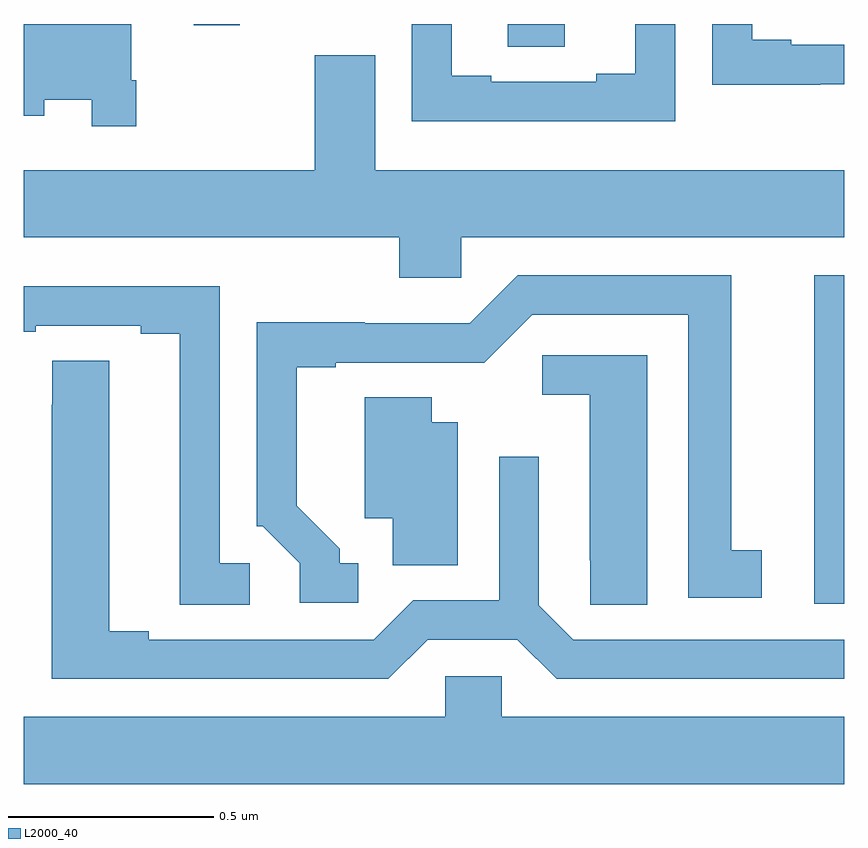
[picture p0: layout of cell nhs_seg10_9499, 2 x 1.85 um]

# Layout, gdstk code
import gdstk
lib = gdstk.Library(unit=1e-6, precision=1e-09)
def R(c, l, rs):  # rectangles x0, y0, x1, y1
    for r in rs: c.add(gdstk.rectangle(r[:2], r[2:], *l))
def P(c, l, *ps):  # polygons
    for p in ps: c.add(gdstk.Polygon(p, *l))
L2000_40 = (2000, 40)

nhs_seg10_9499 = lib.new_cell('nhs_seg10_9499')
R(nhs_seg10_9499, L2000_40, [(231.926,1302.087,232,1302.888), (231.18,1303.444,231.319,1303.5), (230.415,1303.497,230.527,1303.5)])
P(nhs_seg10_9499, L2000_40, [(231.941,1303.353),(232,1303.353),(232,1303.449),(231.871,1303.449),(231.871,1303.462),(231.775,1303.462),(231.775,1303.5),(231.678,1303.5),(231.678,1303.352),(231.941,1303.352)],
  [(231.588,1303.5),(231.491,1303.5),(231.491,1303.379),(231.395,1303.379),(231.395,1303.359),(231.139,1303.359),(231.139,1303.374),(231.043,1303.374),(231.043,1303.5),(230.946,1303.5),(230.946,1303.263),(231.588,1303.263)],
  [(230.275,1303.363),(230.262,1303.363),(230.262,1303.5),(230,1303.5),(230,1303.277),(230.05,1303.277),(230.05,1303.316),(230.166,1303.316),(230.166,1303.251),(230.275,1303.251)],
  [(231.066,1302.98),(232,1302.98),(232,1303.144),(230.857,1303.144),(230.857,1303.424),(230.71,1303.424),(230.71,1303.144),(230,1303.144),(230,1302.98),(230.915,1302.98),(230.915,1302.882),(231.066,1302.882)],
  [(230.815,1302.186),(230.77,1302.186),(230.77,1302.221),(230.665,1302.326),(230.665,1302.663),(230.761,1302.663),(230.761,1302.675),(231.026,1302.675),(231.026,1302.674),(231.122,1302.674),(231.24,1302.792),(231.62,1302.792),(231.62,1302.102),(231.799,1302.102),(231.799,1302.218),(231.724,1302.218),(231.724,1302.888),(231.204,1302.888),(231.087,1302.771),(230.831,1302.771),(230.831,1302.773),(230.568,1302.773),(230.568,1302.276),(230.583,1302.276),(230.673,1302.186),(230.673,1302.09),(230.815,1302.09)],
  [(230.551,1302.186),(230.478,1302.186),(230.478,1302.861),(230,1302.861),(230,1302.75),(230.029,1302.75),(230.029,1302.765),(230.285,1302.765),(230.285,1302.745),(230.381,1302.745),(230.381,1302.085),(230.551,1302.085)],
  [(231.52,1302.693),(231.264,1302.693),(231.264,1302.596),(231.38,1302.596),(231.38,1302.193),(231.381,1302.193),(231.381,1302.085),(231.52,1302.085)],
  [(230.985,1302),(231.203,1302),(231.299,1301.904),(232,1301.904),(232,1302),(231.339,1302),(231.255,1302.084),(231.255,1302.445),(231.159,1302.445),(231.159,1302.096),(230.949,1302.096),(230.853,1302),(230.305,1302),(230.305,1302.02),(230.209,1302.02),(230.209,1302.68),(230.07,1302.68),(230.07,1302.572),(230.069,1302.572),(230.069,1301.904),(230.889,1301.904)],
  [(231.058,1302.529),(230.995,1302.529),(230.995,1302.59),(230.831,1302.59),(230.831,1302.296),(230.9,1302.296),(230.9,1302.181),(231.058,1302.181)],
  [(232,1301.812),(231.165,1301.812),(231.165,1301.91),(231.027,1301.91),(231.027,1301.812),(230,1301.812),(230,1301.648),(232,1301.648)])

lib.write_gds('nhs_seg10_9499.gds')
